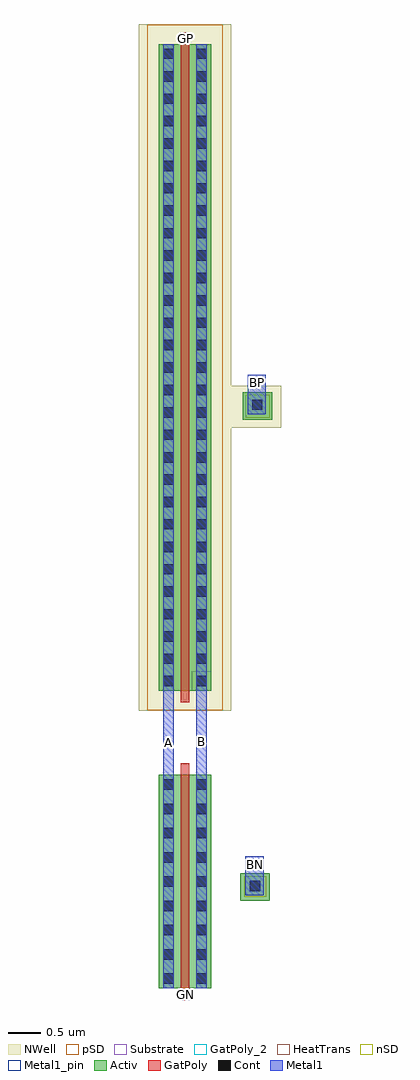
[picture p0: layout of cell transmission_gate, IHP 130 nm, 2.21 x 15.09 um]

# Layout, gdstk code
import gdstk
lib = gdstk.Library(unit=1e-6, precision=1e-09)
def R(c, l, rs):  # rectangles x0, y0, x1, y1
    for r in rs: c.add(gdstk.rectangle(r[:2], r[2:], *l))
def A(c, l, x, y, w, h, nx, ny, dx, dy):  # array of equal rectangles
    R(c, l, [(x+i*dx, y+j*dy, x+i*dx+w, y+j*dy+h) for i in range(nx) for j in range(ny)])
Activ = (1, 0)
GatPoly = (5, 0)
GatPoly_2 = (5, 2)
Cont = (6, 0)
nSD = (7, 0)
Metal1 = (8, 0)
Metal1_pin = (8, 2)
pSD = (14, 0)
NWell = (31, 0)
Substrate = (40, 0)
HeatTrans = (51, 0)

nmos_1 = lib.new_cell('nmos$1')
R(nmos_1, Activ, [(0,0,0.3,0.3), (0,0,0.81,3.3), (0.51,0,0.81,0.3)])
R(nmos_1, GatPoly, [(0.34,-0.18,0.47,3.48)])
R(nmos_1, GatPoly_2, [(0.34,-0.18,0.47,3.48)])
A(nmos_1, Cont, 0.07, 0.07, 0.16, 0.16, 1, 9, 0, 0.375)
A(nmos_1, Cont, 0.58, 0.07, 0.16, 0.16, 1, 9, 0, 0.375)
R(nmos_1, Metal1, [(0.07,0,0.23,3.3), (0.58,0,0.74,3.3)])
R(nmos_1, Metal1_pin, [(0.07,0,0.23,3.3), (0.58,0,0.74,3.3)])
R(nmos_1, HeatTrans, [(0.34,-0.18,0.47,3.48)])
nmos_1.add(gdstk.Label('nmos', (0.405,1.65), layer=63, texttype=0))
nmos_1.add(gdstk.Label('nmos', (0.405,1.65), layer=51, texttype=0))

pmos_1 = lib.new_cell('pmos$1')
R(pmos_1, Activ, [(0,0,0.3,0.3), (0,0,0.81,10), (0.51,0,0.81,0.3)])
R(pmos_1, GatPoly, [(0.34,-0.18,0.47,10.18), (0.34,-0.18,0.47,10.18)])
A(pmos_1, Cont, 0.07, 0.07, 0.16, 0.16, 1, 4, 0, 0.345)
A(pmos_1, Cont, 0.58, 0.07, 0.16, 0.16, 1, 4, 0, 0.345)
A(pmos_1, Cont, 0.07, 1.455, 0.16, 0.16, 1, 3, 0, 0.345)
A(pmos_1, Cont, 0.58, 1.455, 0.16, 0.16, 1, 3, 0, 0.345)
A(pmos_1, Cont, 0.07, 2.495, 0.16, 0.16, 1, 4, 0, 0.345)
A(pmos_1, Cont, 0.58, 2.495, 0.16, 0.16, 1, 4, 0, 0.345)
A(pmos_1, Cont, 0.07, 3.88, 0.16, 0.16, 1, 3, 0, 0.345)
A(pmos_1, Cont, 0.58, 3.88, 0.16, 0.16, 1, 3, 0, 0.345)
A(pmos_1, Cont, 0.07, 4.92, 0.16, 0.16, 1, 4, 0, 0.345)
A(pmos_1, Cont, 0.58, 4.92, 0.16, 0.16, 1, 4, 0, 0.345)
A(pmos_1, Cont, 0.07, 6.305, 0.16, 0.16, 1, 3, 0, 0.345)
A(pmos_1, Cont, 0.58, 6.305, 0.16, 0.16, 1, 3, 0, 0.345)
A(pmos_1, Cont, 0.07, 7.345, 0.16, 0.16, 1, 4, 0, 0.345)
A(pmos_1, Cont, 0.58, 7.345, 0.16, 0.16, 1, 4, 0, 0.345)
A(pmos_1, Cont, 0.07, 8.73, 0.16, 0.16, 1, 3, 0, 0.345)
A(pmos_1, Cont, 0.58, 8.73, 0.16, 0.16, 1, 3, 0, 0.345)
R(pmos_1, Cont, [(0.07,9.77,0.23,9.93), (0.58,9.77,0.74,9.93)])
R(pmos_1, Metal1, [(0.07,0,0.23,10), (0.07,0,0.23,10), (0.58,0,0.74,10), (0.58,0,0.74,10)])
R(pmos_1, pSD, [(-0.18,-0.3,0.99,10.3)])
R(pmos_1, NWell, [(-0.31,-0.31,1.12,10.31)])
R(pmos_1, Substrate, [(0.51,0,0.81,0.3)])
R(pmos_1, HeatTrans, [(0.34,-0.18,0.47,10.18)])
pmos_1.add(gdstk.Label('pmos', (0.405,5), layer=63, texttype=0))
pmos_1.add(gdstk.Label('pmos', (0.405,5), layer=51, texttype=0))

transmission_gate = lib.new_cell('transmission_gate')
R(transmission_gate, Activ, [(0.865,1.69,1.325,2.115), (0.9,9.13,1.36,9.555)])
R(transmission_gate, Cont, [(1.013,1.838,1.173,1.998), (1.048,9.278,1.208,9.438)])
R(transmission_gate, nSD, [(0.95,9.16,1.325,9.51)])
R(transmission_gate, Metal1, [(0.945,1.775,1.225,2.38), (-0.325,3.635,-0.165,4.935), (0.185,3.635,0.345,4.935), (0.98,9.215,1.26,9.82)])
R(transmission_gate, pSD, [(0.925,1.75,1.265,2.065)])
R(transmission_gate, NWell, [(0.725,9,1.5,9.65)])
transmission_gate.add(gdstk.Reference(nmos_1, (-0.395,0.335)))
transmission_gate.add(gdstk.Reference(pmos_1, (-0.395,4.935)))
transmission_gate.add(gdstk.Label('A', (-0.25,4.14), layer=8, texttype=2))
transmission_gate.add(gdstk.Label('B', (0.265,4.145), layer=8, texttype=2))
transmission_gate.add(gdstk.Label('BP', (1.13,9.695), layer=8, texttype=2))
transmission_gate.add(gdstk.Label('BN', (1.1,2.245), layer=8, texttype=2))
transmission_gate.add(gdstk.Label('GP', (0.025,15.025), layer=5, texttype=2))
transmission_gate.add(gdstk.Label('GN', (0.015,0.235), layer=5, texttype=2))

lib.write_gds('transmission_gate.gds')
